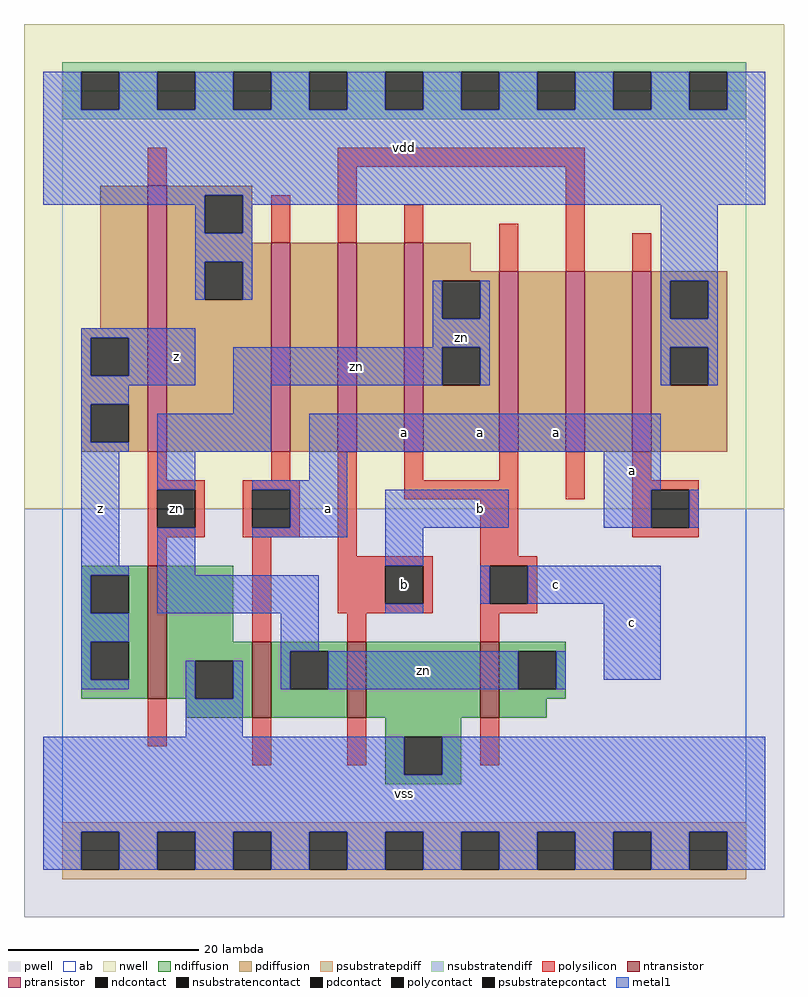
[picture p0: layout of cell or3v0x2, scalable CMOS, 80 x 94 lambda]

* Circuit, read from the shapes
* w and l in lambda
.subckt or3v0x2 a b c vdd vss z zn
M1 vss zn z vss nfet w=14 l=2
M2 zn a vss vss nfet w=8 l=2
M3 vss b zn vss nfet w=8 l=2
M4 zn c vss vss nfet w=8 l=2
M5 vdd zn z vdd pfet w=28 l=2
M6 n1 a vdd vdd pfet w=22 l=2
M7 n2 b n1 vdd pfet w=22 l=2
M8 zn c n2 vdd pfet w=22 l=2
M9 n3 c zn vdd pfet w=19 l=2
M10 n4 b n3 vdd pfet w=19 l=2
M11 vdd a n4 vdd pfet w=19 l=2
.ends

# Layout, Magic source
magic
tech scmos
<< ab >>
rect 0 0 72 80
<< pwell >>
rect -4 -7 76 36
<< nwell >>
rect -4 36 76 87
<< polysilicon >>
rect 9 70 11 74
rect 29 72 55 74
rect 22 64 24 69
rect 29 64 31 72
rect 36 64 38 68
rect 46 61 48 66
rect 53 61 55 72
rect 60 61 62 65
rect 9 39 11 42
rect 22 39 24 42
rect 9 38 15 39
rect 9 34 10 38
rect 14 34 15 38
rect 9 33 15 34
rect 19 38 25 39
rect 19 34 20 38
rect 24 34 25 38
rect 19 33 25 34
rect 9 30 11 33
rect 20 22 22 33
rect 29 31 31 42
rect 36 39 38 42
rect 46 39 48 42
rect 36 37 48 39
rect 53 37 55 42
rect 60 39 62 42
rect 60 38 67 39
rect 44 31 48 37
rect 60 34 62 38
rect 66 34 67 38
rect 60 33 67 34
rect 29 30 39 31
rect 29 26 34 30
rect 38 26 39 30
rect 29 25 39 26
rect 44 30 50 31
rect 44 26 45 30
rect 49 26 50 30
rect 44 25 50 26
rect 30 22 32 25
rect 44 22 46 25
rect 9 11 11 16
rect 20 9 22 14
rect 30 9 32 14
rect 44 9 46 14
<< ndiffusion >>
rect 2 29 9 30
rect 2 25 3 29
rect 7 25 9 29
rect 2 22 9 25
rect 2 18 3 22
rect 7 18 9 22
rect 2 16 9 18
rect 11 22 18 30
rect 11 20 20 22
rect 11 16 14 20
rect 18 16 20 20
rect 13 14 20 16
rect 22 21 30 22
rect 22 17 24 21
rect 28 17 30 21
rect 22 14 30 17
rect 32 14 44 22
rect 46 21 53 22
rect 46 17 48 21
rect 52 17 53 21
rect 46 16 53 17
rect 46 14 51 16
rect 34 12 42 14
rect 34 8 36 12
rect 40 8 42 12
rect 34 7 42 8
<< pdiffusion >>
rect 4 55 9 70
rect 2 54 9 55
rect 2 50 3 54
rect 7 50 9 54
rect 2 47 9 50
rect 2 43 3 47
rect 7 43 9 47
rect 2 42 9 43
rect 11 69 20 70
rect 11 65 15 69
rect 19 65 20 69
rect 11 64 20 65
rect 11 62 22 64
rect 11 58 15 62
rect 19 58 22 62
rect 11 42 22 58
rect 24 42 29 64
rect 31 42 36 64
rect 38 61 43 64
rect 38 60 46 61
rect 38 56 40 60
rect 44 56 46 60
rect 38 53 46 56
rect 38 49 40 53
rect 44 49 46 53
rect 38 42 46 49
rect 48 42 53 61
rect 55 42 60 61
rect 62 60 70 61
rect 62 56 64 60
rect 68 56 70 60
rect 62 53 70 56
rect 62 49 64 53
rect 68 49 70 53
rect 62 42 70 49
<< metal1 >>
rect -2 78 2 82
rect 6 78 10 82
rect 14 78 18 82
rect 22 78 26 82
rect 30 78 34 82
rect 38 78 42 82
rect 46 78 50 82
rect 54 78 58 82
rect 62 78 66 82
rect 70 78 74 82
rect -2 69 74 78
rect -2 68 15 69
rect 14 65 15 68
rect 19 68 74 69
rect 19 65 20 68
rect 14 62 20 65
rect 14 58 15 62
rect 19 58 20 62
rect 63 60 69 68
rect 39 56 40 60
rect 44 56 45 60
rect 2 54 14 55
rect 2 50 3 54
rect 7 50 14 54
rect 39 53 45 56
rect 2 49 14 50
rect 18 49 40 53
rect 44 49 45 53
rect 63 56 64 60
rect 68 56 69 60
rect 63 53 69 56
rect 63 49 64 53
rect 68 49 69 53
rect 2 47 7 49
rect 2 43 3 47
rect 18 46 22 49
rect 2 42 7 43
rect 10 42 22 46
rect 26 42 63 46
rect 2 30 6 42
rect 10 38 14 42
rect 26 39 30 42
rect 2 29 7 30
rect 2 25 3 29
rect 10 29 14 34
rect 20 38 30 39
rect 57 38 63 42
rect 24 34 30 38
rect 20 33 30 34
rect 34 34 47 38
rect 57 34 62 38
rect 66 34 67 38
rect 34 30 38 34
rect 10 25 27 29
rect 44 26 45 30
rect 49 26 63 30
rect 34 25 38 26
rect 2 22 7 25
rect 2 18 3 22
rect 23 21 27 25
rect 2 17 7 18
rect 13 16 14 20
rect 18 16 19 20
rect 23 17 24 21
rect 28 17 48 21
rect 52 17 53 21
rect 57 18 63 26
rect 13 12 19 16
rect -2 8 36 12
rect 40 8 74 12
rect -2 2 74 8
rect -2 -2 2 2
rect 6 -2 10 2
rect 14 -2 18 2
rect 22 -2 26 2
rect 30 -2 34 2
rect 38 -2 42 2
rect 46 -2 50 2
rect 54 -2 58 2
rect 62 -2 66 2
rect 70 -2 74 2
<< ntransistor >>
rect 9 16 11 30
rect 20 14 22 22
rect 30 14 32 22
rect 44 14 46 22
<< ptransistor >>
rect 9 42 11 70
rect 22 42 24 64
rect 29 42 31 64
rect 36 42 38 64
rect 46 42 48 61
rect 53 42 55 61
rect 60 42 62 61
<< polycontact >>
rect 10 34 14 38
rect 20 34 24 38
rect 62 34 66 38
rect 34 26 38 30
rect 45 26 49 30
<< ndcontact >>
rect 3 25 7 29
rect 3 18 7 22
rect 14 16 18 20
rect 24 17 28 21
rect 48 17 52 21
rect 36 8 40 12
<< pdcontact >>
rect 3 50 7 54
rect 3 43 7 47
rect 15 65 19 69
rect 15 58 19 62
rect 40 56 44 60
rect 40 49 44 53
rect 64 56 68 60
rect 64 49 68 53
<< psubstratepcontact >>
rect 2 -2 6 2
rect 10 -2 14 2
rect 18 -2 22 2
rect 26 -2 30 2
rect 34 -2 38 2
rect 42 -2 46 2
rect 50 -2 54 2
rect 58 -2 62 2
rect 66 -2 70 2
<< nsubstratencontact >>
rect 2 78 6 82
rect 10 78 14 82
rect 18 78 22 82
rect 26 78 30 82
rect 34 78 38 82
rect 42 78 46 82
rect 50 78 54 82
rect 58 78 62 82
rect 66 78 70 82
<< psubstratepdiff >>
rect 0 2 72 3
rect 0 -2 2 2
rect 6 -2 10 2
rect 14 -2 18 2
rect 22 -2 26 2
rect 30 -2 34 2
rect 38 -2 42 2
rect 46 -2 50 2
rect 54 -2 58 2
rect 62 -2 66 2
rect 70 -2 72 2
rect 0 -3 72 -2
<< nsubstratendiff >>
rect 0 82 72 83
rect 0 78 2 82
rect 6 78 10 82
rect 14 78 18 82
rect 22 78 26 82
rect 30 78 34 82
rect 38 78 42 82
rect 46 78 50 82
rect 54 78 58 82
rect 62 78 66 82
rect 70 78 72 82
rect 0 77 72 78
<< labels >>
rlabel polycontact 12 36 12 36 6 zn
rlabel metal1 4 36 4 36 6 z
rlabel polycontact 12 35 12 35 6 zn
rlabel metal1 12 52 12 52 6 z
rlabel metal1 36 6 36 6 6 vss
rlabel polycontact 36 28 36 28 6 b
rlabel metal1 28 36 28 36 6 a
rlabel metal1 36 44 36 44 6 a
rlabel metal1 36 74 36 74 6 vdd
rlabel metal1 38 19 38 19 6 zn
rlabel metal1 52 28 52 28 6 c
rlabel metal1 44 36 44 36 6 b
rlabel metal1 44 44 44 44 6 a
rlabel metal1 52 44 52 44 6 a
rlabel metal1 42 54 42 54 6 zn
rlabel metal1 31 51 31 51 6 zn
rlabel metal1 60 24 60 24 6 c
rlabel metal1 60 40 60 40 6 a
<< end >>
